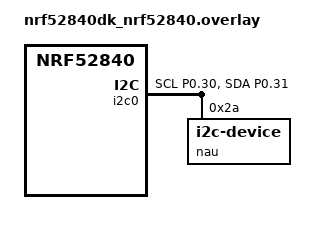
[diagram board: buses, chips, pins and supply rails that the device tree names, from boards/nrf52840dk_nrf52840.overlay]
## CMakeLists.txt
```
#
# Copyright (c) 2016 Intel Corporation
#
# SPDX-License-Identifier: Apache-2.0
#

cmake_minimum_required(VERSION 3.20.0)
find_package(Zephyr REQUIRED HINTS $ENV{ZEPHYR_BASE})
project(nrf_connect_sdk_fundamentals)

target_sources(app PRIVATE src/main.c
		src/nau.c)
```

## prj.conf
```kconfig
#
# Copyright (c) 2016 Intel Corporation
#
# SPDX-License-Identifier: Apache-2.0
#

# STEP 2 - Enable the I2C driver
CONFIG_I2C=y
# STEP 4.2 - Enable floating point format specifiers
CONFIG_CBPRINTF_FP_SUPPORT=y
CONFIG_LOG=y
```

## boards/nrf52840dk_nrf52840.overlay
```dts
&i2c0 {
    status = "okay";
    pinctrl-0 = <&i2c0_default>;
    pinctrl-1 = <&i2c0_sleep>;
    pinctrl-names = "default", "sleep";
    nau: nau@2A{
        compatible = "i2c-device";
        status = "okay";
        reg = <0x2A>;
    };
};


&pinctrl {
    /* I2C0 pin configurations */
    i2c0_default: i2c0_default {
        group1 {
            psels = <NRF_PSEL(TWIM_SCL, 0, 30)>,
                   <NRF_PSEL(TWIM_SDA, 0, 31)>;
        };
    };

    i2c0_sleep: i2c0_sleep {
        group1 {
            psels = <NRF_PSEL(TWIM_SCL, 0, 30)>,
                   <NRF_PSEL(TWIM_SDA, 0, 31)>;
            low-power-enable;
        };
    };
};
```

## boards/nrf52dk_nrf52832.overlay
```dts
&i2c0 {
    status = "okay";
    pinctrl-0 = <&i2c0_default>;
    pinctrl-1 = <&i2c0_sleep>;
    pinctrl-names = "default", "sleep";
    nau: nau@2A{
        compatible = "i2c-device";
        status = "okay";
        reg = <0x2A>;
    };
};


&pinctrl {
    /* I2C0 pin configurations */
    i2c0_default: i2c0_default {
        group1 {
            psels = <NRF_PSEL(TWIM_SCL, 0, 31)>,
                   <NRF_PSEL(TWIM_SDA, 0, 30)>;
        };
    };

    i2c0_sleep: i2c0_sleep {
        group1 {
            psels = <NRF_PSEL(TWIM_SCL, 0, 31)>,
                   <NRF_PSEL(TWIM_SDA, 0, 30)>;
            low-power-enable;
        };
    };
};
```

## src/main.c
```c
#include <zephyr/kernel.h>
#include <zephyr/device.h>
#include <zephyr/drivers/i2c.h>
#include <zephyr/logging/log.h>

#include "nau.h"
// LOG_MODULE_REGISTER(main_code, LOG_LEVEL_INF);

void phSensor_init()
{
    nau_init();
    k_msleep(500);
    // nau_offset_calib();
    // k_msleep(1000);
    nau_ctrl_reg(GAIN_1, VLDO_3_3, CR_10SPS, CALMOD_INT_OFFSET);
    k_msleep(500);
    nau_Read_ADC();
    k_msleep(500);
}


int main(void)
{
    // uint32_t raw_data = 0;
    // bool infection_status = false;
    pH_and_infection pH_inf;
    k_msleep(1000);
    // LOG_INF("Initiating pH Sensor ADC");
    phSensor_init();
    while (1) {
        while(!data_ready())
        {
            k_msleep(1);
        }
        // LOG_INF("Reading pH sensor");
        // raw_data = nau_Read_ADC();
        pH_inf = raw_data_to_pH();
        // printk("pH_val: %d || Avg_raw_data_5_val: %d", pH_val);
        // infection_status = infection_detect();
        if(pH_inf.infection == true)
        {
            printk("Infection_status = true\n\r");
        }
        else
        {
            printk("Infection_status = false\n\r");
        }
        k_msleep(1000);
    }
    return 0;
}
```

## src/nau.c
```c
#include <zephyr/kernel.h>
#include <zephyr/drivers/i2c.h>
#include <zephyr/logging/log.h>
#include "nau.h"
#define I2C_NODE DT_NODELABEL(nau)

#define pH_val_buff_size 10
#define infection_detect_buff_size 10

LOG_MODULE_REGISTER(nau_code, LOG_LEVEL_INF);

static const struct i2c_dt_spec nau = I2C_DT_SPEC_GET(I2C_NODE);

uint8_t pH_infection_check[infection_detect_buff_size];



bool nau_init()
{
    int ret = 0;
    uint8_t reg = NAU_DEV_CODE;
    uint8_t data;

    if (!device_is_ready(nau.bus))
    {
        // LOG_ERR("I2C bus %s is not ready!", nau.bus->name);
        return false;
    }

    k_msleep(1000);
    ret = i2c_write_read_dt(&nau, &reg, 1, &data, 1);
    if (ret != 0)
    {
        // LOG_ERR("Couldn't read the device address");
        return false;
    }

    // LOG_INF("Device ID: %02x", data);

    k_msleep(100);

    // Reseting the device registers
    uint8_t reg_write[2];
    reg_write[0] = NAU_PU_CTRL;
    reg_write[1] = 0x01;
    ret = i2c_write_dt(&nau, &reg_write, sizeof(reg_write));

    if (ret != 0)
    {
        // LOG_ERR("Failed to reset the device registers");
        return false;
    }

    k_msleep(100);

    // PowerOn sequence
    reg_write[0] = NAU_PU_CTRL;
    reg_write[1] = 0x96;
    ret = i2c_write_dt(&nau, &reg_write, sizeof(reg_write));
    if (ret != 0)
    {
        // LOG_ERR("Failed to initiate power-up sequence");
        return false;
    }

    k_msleep(100);
    ret = i2c_write_read_dt(&nau, &reg_write, 1, &data, 1);
    if (ret != 0)
    {
        // LOG_ERR("Couldn't read the device address");
        return false;
    }
    // LOG_INF("R0x00 powerup: %02x", data);

    // Setting LOW ESR for high precision at lower gain values
    reg_write[0] = NAU_PGA;
    reg_write[1] = 0x00 | BIT(6);
    ret = i2c_write_dt(&nau, &reg_write, sizeof(reg_write));
    if (ret != 0)
    {
        // LOG_ERR("Couldn't read the device address");
        return false;
    }

    // PGA_OUTPUT_CAP_ON
    reg_write[0] = NAU7802_POWER_CAP;
    reg_write[1] = 0x00 | BIT(7);
    ret = i2c_write_dt(&nau, &reg_write, sizeof(reg_write));
    if (ret != 0)
    {
        // LOG_ERR("Couldn't read the device address");
        return false;
    }

    return true;
}

void nau_ctrl_reg(uint8_t gain, uint8_t VLDO, uint8_t CR, uint8_t CALMOD)
{
    int ret = 0;
    uint8_t reg[2];
    uint8_t data;
    reg[0] = NAU_CTRL1; // Writes gain and VLDO values to reg
    reg[1] = 0x00;

    reg[1] = VLDO << 3 | gain;
    // Writing data to CTRL1
    ret = i2c_write_dt(&nau, &reg, sizeof(reg));
    if (ret != 0)
    {
        // LOG_ERR("Couldn't write to reg %02x", reg[0]);
        return;
    }

    k_msleep(300);
    // Reading data from CTRL1
    ret = i2c_write_read_dt(&nau, &reg, 1, &data, 1);
    if (ret != 0)
    {
        // LOG_ERR("Couldn't read the device address");
        return;
    }

    // LOG_INF("Data read from CTRL1: %02x", data);

    k_msleep(100);

    reg[0] = NAU_CTRL2;
    reg[1] = 0x00;

    reg[1] = CR << 4 | 1 << 3 | CALMOD;
    // Writing data to CTRL2
    ret = i2c_write_dt(&nau, &reg, sizeof(reg));
    if (ret != 0)
    {
        // LOG_ERR("Couldn't write to reg %02x", reg[0]);
        return;
    }

    k_msleep(300);
    // Reading data from CTRL2
    ret = i2c_write_read_dt(&nau, &reg, 1, &data, 1);
    if (ret != 0)
    {
        // LOG_ERR("Couldn't read the device address");
        return;
    }

    // LOG_INF("Data read from CTRL2: %02x", data);

    if ((data & 1 << 2) == 0)
    {
        if ((data & 1 << 3) == 8)
        {
            // LOG_INF("Calibration failed");
        }
        else
        {
            // LOG_INF("Calibration successful");
        }
    }
    else
    {
        // LOG_INF("Calibration in progress");
    }
    // LOG_INF("Control Register's settings complete.");
}

void nau_offset_calib()
{
    int ret = 0;
    uint8_t reg[2];
    uint8_t data;
    reg[0] = NAU_CTRL2; // Writes gain and VLDO values to reg
    reg[1] = 0x00 | BIT(1) | BIT(2) | BIT(5);

    // Writing data to CTRL2
    ret = i2c_write_dt(&nau, &reg, sizeof(reg));
    if (ret != 0)
    {
        // LOG_ERR("Couldn't write to reg %02x", reg[0]);
        printk("Couldn't write to reg %02x", reg[0]);
        return;
    }

    ret = i2c_write_read_dt(&nau, &reg, 1, &data, 1);
    if (ret != 0)
    {
        // LOG_ERR("Couldn't read the device address");
        return;
    }

    k_msleep(1000);

    if ((data & BIT(2)) == 0)
    {
        if (data && BIT(3))
        {
            LOG_INF("Calibration failed");
        }
        else
        {
            LOG_INF("Calibration successful");
        }
    }
    else
    {
        LOG_INF("Calibration in progress");
    }
}

bool data_ready()
{
    int ret = 0;
    uint8_t reg = NAU_PU_CTRL;
    uint8_t read_reg_pu;
    ret = i2c_write_read_dt(&nau, &reg, 1, &read_reg_pu, 1);
    if (ret != 0)
    {
        // LOG_ERR("Couldn't read the device address");
        return false;
    }
    if (read_reg_pu && BIT(5))
    {
        return true;
    }
    else
    {
        return false;
    }
}

uint32_t nau_Read_ADC()
{
    int ret = 0;
    uint32_t adc_data = 0;
    uint8_t reg = NAU_ADCO_B2;
    uint8_t data[3];
    uint8_t read_reg_pu;
    ret = i2c_write_read_dt(&nau, &reg, 1, &data, 3);
    if (ret != 0)
    {
        // LOG_ERR("Couldn't read the device address");
        return false;
    }
    adc_data = data[0];
    adc_data = adc_data << 8 | data[1];
    adc_data = adc_data << 8 | data[2];

    // LOG_INF("ADC_DATA: %06x", adc_data);

    // Reading R0x00[5] to check whether ADC data is ready
    reg = NAU_PU_CTRL;
    ret = i2c_write_read_dt(&nau, &reg, 1, &read_reg_pu, 1);
    if (ret != 0)
    {
        // LOG_ERR("Couldn't read the device address");
        return false;
    }
    // LOG_INF("R0x00 Data: %02x", read_reg_pu);
    uint32_t adc_data_dec;
    // LOG_INF("ADC data: %06x", adc_data);
    if (adc_data & 0x800000)
    {
        // Sign extend to 32-bit by setting upper 8 bits to 1
        adc_data_dec = (int32_t)(adc_data | 0xFF000000);
    }
    else
    {
        adc_data_dec = (int32_t)adc_data;
    }
    // printk("%06x , ", adc_data);
    // printk("adc data %d \r\n", adc_data_dec);
    return adc_data_dec;
}


void set_pH_buff(uint8_t pH_val)
{
    static uint8_t pH_val_ctr = 0;
    pH_val_ctr = pH_val_ctr < infection_detect_buff_size ? pH_val_ctr : 0;
    pH_infection_check[pH_val_ctr] = pH_val;
    pH_val_ctr++;
}

struct pH_and_infection raw_data_to_pH(void)
{
    uint8_t pH_val = 0;
    static uint8_t pH_prev_val = 0;
    pH_and_infection pH_inf;
    int raw_data = 0;
    uint32_t raw_data_buff[pH_val_buff_size];

    for (int i = 0; i < pH_val_buff_size; i++)
    {
        raw_data_buff[i] = nau_Read_ADC();
    }

    for (int i = 0; i < pH_val_buff_size; i++)
    {
        raw_data += raw_data_buff[i];
    }

    raw_data /= pH_val_buff_size;

    if ((raw_data >= pH_1_L))
    {
        pH_val = 1;
    }
    else if ((raw_data >= pH_2_L) && (raw_data <= pH_2_H))
    {
        pH_val = 2;
    }
    else if ((raw_data >= pH_3_L) && (raw_data <= pH_3_H))
    {
        pH_val = 3;
    }
    else if ((raw_data >= pH_4_L) && (raw_data <= pH_4_H))
    {
        pH_val = 4;
    }
    else if ((raw_data >= pH_5_L) && (raw_data <= pH_5_H))
    {
        pH_val = 5;
    }
    else if ((raw_data >= pH_6_L) && (raw_data <= pH_6_H))
    {
        pH_val = 6;
    }
    else if ((raw_data >= pH_7_L) && (raw_data <= pH_7_H))
    {
        pH_val = 7;
    }
    else if ((raw_data >= pH_8_L) && (raw_data <= pH_8_H))
    {
        pH_val = 8;
    }
    else if ((raw_data >= pH_9_L) && (raw_data <= pH_9_H))
    {
        pH_val = 9;
    }

    else if ((raw_data >= pH_10_L) && (raw_data <= pH_10_H))
    {
        pH_val = 10;
    }
    else if ((raw_data >= pH_11_L) && (raw_data <= pH_11_H))
    {
        pH_val = 11;
    }
    else if ((raw_data >= pH_12_L) && (raw_data <= pH_12_H))
    {
        pH_val = 12;
    }
    else if ((raw_data >= pH_13_L) && (raw_data <= pH_13_H))
    {
        pH_val = 13;
    }
    else if ((raw_data >= pH_14_L) && (raw_data <= pH_14_H))
    {
        pH_val = 14;
    }
    else
    {
        pH_val = pH_prev_val;
    }

    pH_prev_val = pH_val;
    pH_inf.pH = pH_val;
    set_pH_buff(pH_val);

    pH_inf.infection = infection_detect();
   
    printk("Raw data: %d || pH_val: %d \r\n", raw_data, pH_val);
    return pH_inf;
}

bool infection_detect(void)
{

    bool infection_status = false;
    static uint8_t ctr = 0;
    for (int i = 0; i < infection_detect_buff_size; i++)
    {
        /* This condition is necessary to initialize pH_infection_check buffer. Once all the values are set, the buffer then operates like a FIFO */
        if(pH_infection_check[i] == 0)
        {
            printk("Infection buff data is not ready\n\r");
            break;
        }

        else if (pH_infection_check[i] <= 7)
        {
            infection_status = false;
        }
        else 
        {
            ctr++;
            /* This counter checks if 3 out of 10 values have pH greater than 7. If  yes then report the infection. */
            if (ctr < 3)
            {
                infection_status = false;
            }
            else
            {
                ctr = 0;
                infection_status = true;
                break;
            }
            
        }
    }

    return infection_status;
}
```

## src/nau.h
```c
// Registers
#define NAU_PU_CTRL 0x00
#define NAU_CTRL1 0x01
#define NAU_CTRL2 0x02

#define NAU_I2C_CTRL 0x11
#define NAU_ADCO_B2 0x12
#define NAU_ADCO_B1 0x13
#define NAU_ADCO_B0 0x14

#define NAU_OTP_B1 0x15
#define NAU_OTP_B0 0x16
#define NAU_PGA 0x1B
#define NAU7802_POWER_CAP 0x1C

#define NAU_DEV_CODE 0x1F

// Reg bit values
// CTRL1
#define VLDO_2_4 0x07
#define VLDO_2_7 0x06
#define VLDO_3_0 0x05
#define VLDO_3_3 0x04
#define VLDO_3_6 0x03
#define VLDO_3_9 0x02
#define VLDO_4_2 0x01
#define VLDO_4_5 0x00

#define GAIN_128 0x07
#define GAIN_64 0x06
#define GAIN_32 0x05
#define GAIN_16 0x04
#define GAIN_8 0x03
#define GAIN_4 0x02
#define GAIN_2 0x01
#define GAIN_1 0x00

// CTRL2
#define CR_320SPS 0x07
#define CR_80SPS 0x03
#define CR_40SPS 0x02
#define CR_20SPS 0x01
#define CR_10SPS 0x00

#define CALMOD_GAIN 0x03
#define CALMOD_EXT_OFFSET 0x02
#define CALMOD_INT_OFFSET 0x00

#define pH_1_L 355555
#define pH_1_H 575555

#define pH_2_L 215599
#define pH_2_H 255555

#define pH_3_L 132233
#define pH_3_H 178899

#define pH_4_L 55332
#define pH_4_H 99887

#define pH_5_L -7000
#define pH_5_H 32000

#define pH_6_L -61000
#define pH_6_H -13000

#define pH_7_L -94000
#define pH_7_H -65000

#define pH_8_L -139000
#define pH_8_H -102000

#define pH_9_L -180000
#define pH_9_H -144000

#define pH_10_L -250000
#define pH_10_H -230000

#define pH_11_L -290000
#define pH_11_H -260000

#define pH_12_L -350000
#define pH_12_H -320000

#define pH_13_L -400000
#define pH_13_H -380000

#define pH_14_L -480000
#define pH_14_H -420000


typedef struct pH_and_infection {
    uint8_t pH;
    bool infection;
}pH_and_infection;


// Functions
bool nau_init();
void nau_offset_calib();
void nau_ctrl_reg(uint8_t gain, uint8_t VLDO, uint8_t CR, uint8_t CALMOD);
uint32_t nau_Read_ADC();
bool data_ready();
struct pH_and_infection raw_data_to_pH(void);
bool infection_detect(void);
```
